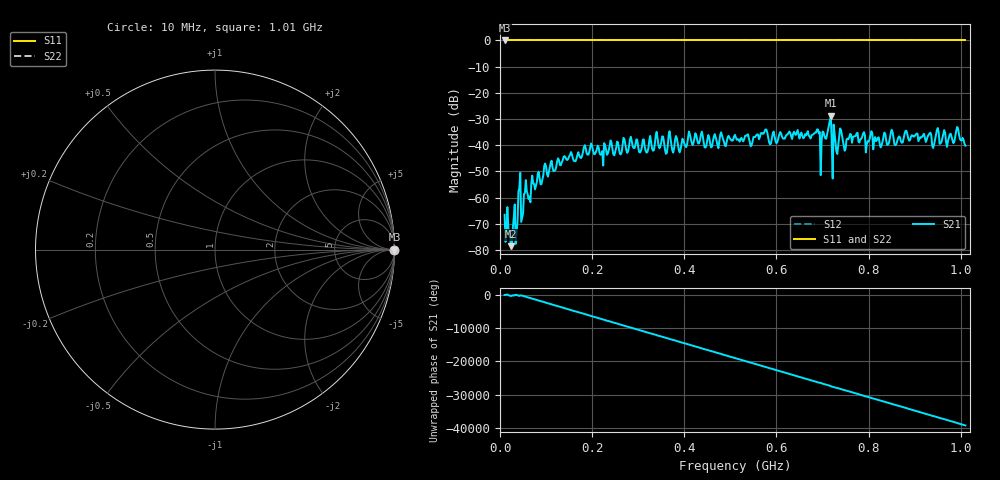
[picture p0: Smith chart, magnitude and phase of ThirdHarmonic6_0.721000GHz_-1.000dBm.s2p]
! 8/16/2025 12:07:09 AM
! C:\ANRITSUVNA\TEMP\TEMP.S2P
! CHANNEL.1
! TR.MEASUREMENT
! RAW.DATA
! RF.CORRECTION.OFF
! AVERAGING.OFF
! IF.BANDWIDTH: 5KHZ
! SWEEPTYPE:  FREQ.SWEEP(Linear)
! Reference Plane Port Info
! PORT:  PORT1  PORT2
! DISTANCE:  0  m  0  m
! TIME:  0  s  0  s
! PHASE.OFFSET:  0  deg.  0  deg.
! LOSS:  0  dB  0  dB
! REF.LOSS:  0  dB  0  dB
! REF.FREQ:  0  Hz  0  Hz
! Power Info
! POWER:  -20  dBm  -20  dBm
! EFF.POWER:  -20  dBm  -20  dBm
! SOURCE.ATTEN:  0  dB  0  dB
! TEST.ATTEN:  0  dB  0  dB
# GHZ S RI R 50.0
! FREQ.GHZ  S11RE  S11IM  S21RE  S21IM  S12RE  S12IM  S22RE  S22IM
!; PortSelection: Port_12
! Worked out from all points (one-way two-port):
!   501 points, 10 MHz to 1.01 GHz, reference 50 ohm
!   highest |S21| = -28.72 dB at 718 MHz (marker M1); lowest = -78.6 dB at 24 MHz (marker M2)
!   lowest |S11| = 0.0 dB at 10 MHz (marker M3)
!   |S11| at or under -10 dB: nowhere
!   |S22| runs from 0.0 to 0.0 dB; largest |S21 - S12| = 1
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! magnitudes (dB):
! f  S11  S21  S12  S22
! 10 MHz  0.0  -66.6  0.0  0.0
! 24 MHz  0.0  -78.6  0.0  0.0
! 38 MHz  0.0  -69.4  0.0  0.0
! 40 MHz  0.0  -57.8  0.0  0.0
! 50 MHz  0.0  -66.1  0.0  0.0
! 56 MHz  0.0  -53.4  0.0  0.0
! 62 MHz  0.0  -60.6  0.0  0.0
! 98 MHz  0.0  -47.0  0.0  0.0
! 178 MHz  0.0  -44.2  0.0  0.0
! 344 MHz  0.0  -40.1  0.0  0.0
! 510 MHz  0.0  -36.1  0.0  0.0
! 678 MHz  0.0  -36.0  0.0  0.0
! 700 MHz  0.0  -34.8  0.0  0.0
! 714 MHz  0.0  -32.0  0.0  0.0
! 718 MHz  0.0  -28.7  0.0  0.0
! 726 MHz  0.0  -35.3  0.0  0.0
! 740 MHz  0.0  -34.1  0.0  0.0
! 748 MHz  0.0  -42.1  0.0  0.0
! 772 MHz  0.0  -36.5  0.0  0.0
! 844 MHz  0.0  -39.2  0.0  0.0
! 992 MHz  0.0  -33.0  0.0  0.0
! 1.01 GHz  0.0  -40.2  0.0  0.0
